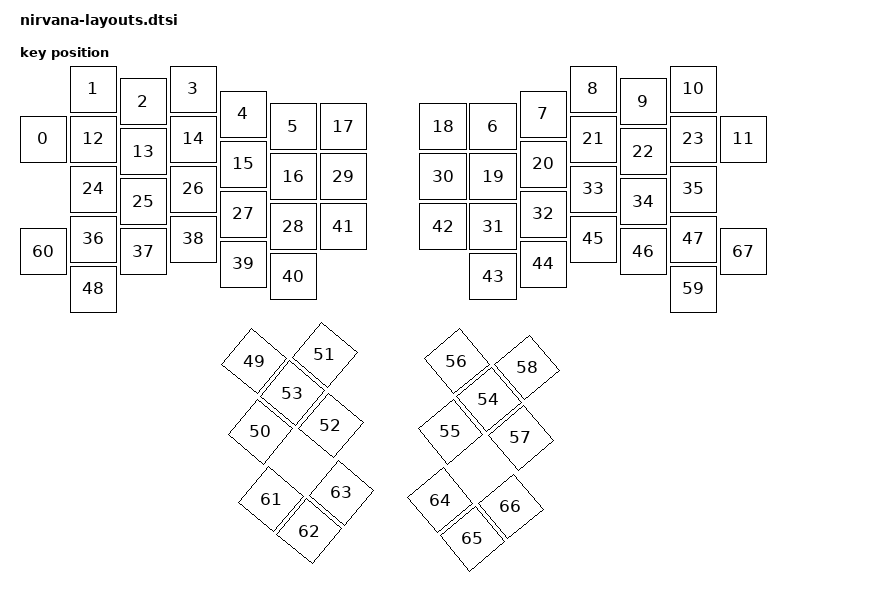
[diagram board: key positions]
#include <physical_layouts.dtsi>

/ {
    physical_layout_aaa: physical_layout_aaa {
        compatible = "zmk,physical-layout";
        display-name = "Nirvana";
        keys  //                     w   h    x    y     rot    rx    ry
            = <&key_physical_attrs 100 100    0  100       0     0   100>
            , <&key_physical_attrs 100 100  100    0       0   100     0>
            , <&key_physical_attrs 100 100  200   25       0   200    25>
            , <&key_physical_attrs 100 100  300    0       0   300     0>
            , <&key_physical_attrs 100 100  400   50       0   400    50>
            , <&key_physical_attrs 100 100  500   75       0   500    75>
            , <&key_physical_attrs 100 100  900   75       0   900    75>
            , <&key_physical_attrs 100 100 1000   50       0  1000    50>
            , <&key_physical_attrs 100 100 1100    0       0  1100     0>
            , <&key_physical_attrs 100 100 1200   25       0  1200    25>
            , <&key_physical_attrs 100 100 1300    0       0  1300     0>
            , <&key_physical_attrs 100 100 1400  100       0  1400   100>
            , <&key_physical_attrs 100 100  100  100       0   100   100>
            , <&key_physical_attrs 100 100  200  125       0   200   125>
            , <&key_physical_attrs 100 100  300  100       0   300   100>
            , <&key_physical_attrs 100 100  400  150       0   400   150>
            , <&key_physical_attrs 100 100  500  175       0   500   175>
            , <&key_physical_attrs 100 100  600   75       0   600    75>
            , <&key_physical_attrs 100 100  800   75       0   800    75>
            , <&key_physical_attrs 100 100  900  175       0   900   175>
            , <&key_physical_attrs 100 100 1000  150       0  1000   150>
            , <&key_physical_attrs 100 100 1100  100       0  1100   100>
            , <&key_physical_attrs 100 100 1200  125       0  1200   125>
            , <&key_physical_attrs 100 100 1300  100       0  1300   100>
            , <&key_physical_attrs 100 100  100  200       0   100   200>
            , <&key_physical_attrs 100 100  200  225       0   200   225>
            , <&key_physical_attrs 100 100  300  200       0   300   200>
            , <&key_physical_attrs 100 100  400  250       0   400   250>
            , <&key_physical_attrs 100 100  500  275       0   500   275>
            , <&key_physical_attrs 100 100  600  175       0   600   175>
            , <&key_physical_attrs 100 100  800  175       0   800   175>
            , <&key_physical_attrs 100 100  900  275       0   900   275>
            , <&key_physical_attrs 100 100 1000  250       0  1000   250>
            , <&key_physical_attrs 100 100 1100  200       0  1100   200>
            , <&key_physical_attrs 100 100 1200  225       0  1200   225>
            , <&key_physical_attrs 100 100 1300  200       0  1300   200>
            , <&key_physical_attrs 100 100  100  300       0   100   300>
            , <&key_physical_attrs 100 100  200  325       0   200   325>
            , <&key_physical_attrs 100 100  300  300       0   300   300>
            , <&key_physical_attrs 100 100  400  350       0   400   350>
            , <&key_physical_attrs 100 100  500  375       0   500   375>
            , <&key_physical_attrs 100 100  600  275       0   600   275>
            , <&key_physical_attrs 100 100  800  275       0   800   275>
            , <&key_physical_attrs 100 100  900  375       0   900   375>
            , <&key_physical_attrs 100 100 1000  350       0  1000   350>
            , <&key_physical_attrs 100 100 1100  300       0  1100   300>
            , <&key_physical_attrs 100 100 1200  325       0  1200   325>
            , <&key_physical_attrs 100 100 1300  300       0  1300   300>
            , <&key_physical_attrs 100 100  100  400       0   100   400>
            , <&key_physical_attrs 100 100  275  600    4000   475   825>
            , <&key_physical_attrs 100 100  375  700    4000   475   825>
            , <&key_physical_attrs 100 100  375  500    4000   475   825>
            , <&key_physical_attrs 100 100  475  600    4000   475   825>
            , <&key_physical_attrs 100 100  375  600    4000   475   825>
            , <&key_physical_attrs 100 100  975  700 (-4000)   875   825>
            , <&key_physical_attrs 100 100  875  700 (-4000)   875   825>
            , <&key_physical_attrs 100 100  975  600 (-4000)   875   825>
            , <&key_physical_attrs 100 100  975  800 (-4000)   875   825>
            , <&key_physical_attrs 100 100 1075  700 (-4000)   875   825>
            , <&key_physical_attrs 100 100 1300  400       0  1300   400>
            , <&key_physical_attrs 100 100    0  325       0     0   325>
            , <&key_physical_attrs 100 100  500  800    4000   500   800>
            , <&key_physical_attrs 100 100  600  800    4000   500   800>
            , <&key_physical_attrs 100 100  600  700    4000   500   800>
            , <&key_physical_attrs 100 100  850  475 (-4000)  1350   775>
            , <&key_physical_attrs 100 100  850  575 (-4000)  1350   775>
            , <&key_physical_attrs 100 100  950  575 (-4000)  1350   775>
            , <&key_physical_attrs 100 100 1400  325       0  1400   325>
            ;
    };
};
